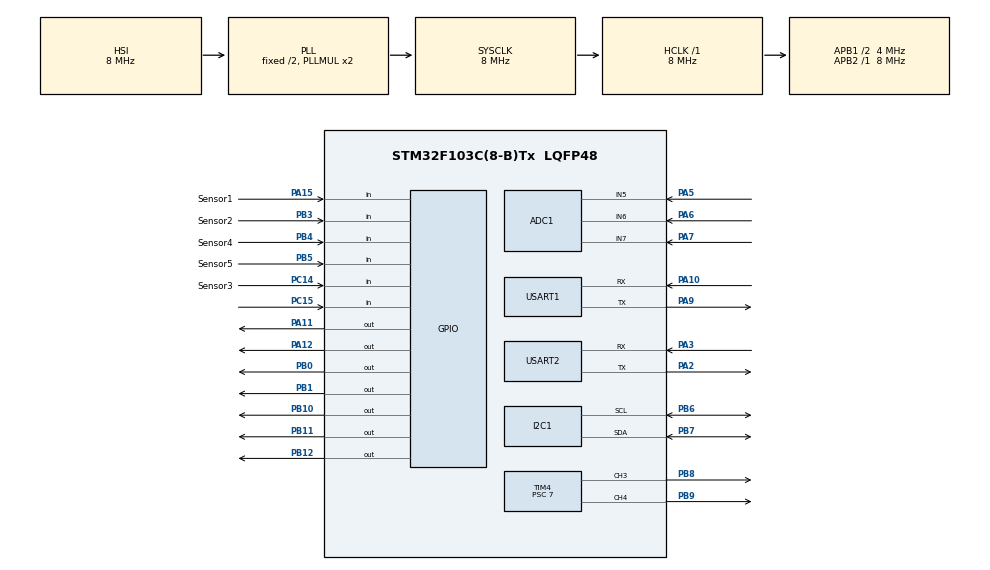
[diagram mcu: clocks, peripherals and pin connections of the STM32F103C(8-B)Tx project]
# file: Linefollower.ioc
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ADC1.Channel-2\#ChannelRegularConversion=ADC_CHANNEL_7
ADC1.NbrOfConversionFlag=1
ADC1.Rank-2\#ChannelRegularConversion=1
ADC1.SamplingTime-2\#ChannelRegularConversion=ADC_SAMPLETIME_1CYCLE_5
ADC1.master=1
Mcu.Family=STM32F1
Mcu.Name=STM32F103C(8-B)Tx
Mcu.Package=LQFP48
NVIC.PriorityGroup=NVIC_PRIORITYGROUP_4
NVIC.TIM4_IRQn=true\:0\:0\:false\:false\:true\:true\:true
NVIC.USART1_IRQn=true\:0\:0\:false\:false\:true\:true\:true
PA10.Mode=Asynchronous
PA10.Signal=USART1_RX
PA11.Signal=GPIO_Output
PA12.Signal=GPIO_Output
PA13.Mode=Serial_Wire
PA13.Signal=SYS_JTMS-SWDIO
PA14.Mode=Serial_Wire
PA14.Signal=SYS_JTCK-SWCLK
PA15.GPIO_Label=Sensor1
PA15.Signal=GPIO_Input
PA2.Mode=Asynchronous
PA2.Signal=USART2_TX
PA3.Mode=Asynchronous
PA3.Signal=USART2_RX
PA5.Signal=ADCx_IN5
PA6.Signal=ADCx_IN6
PA7.Signal=ADCx_IN7
PA9.Mode=Asynchronous
PA9.Signal=USART1_TX
PB0.Signal=GPIO_Output
PB1.Signal=GPIO_Output
PB10.Signal=GPIO_Output
PB11.Signal=GPIO_Output
PB12.Signal=GPIO_Output
PB3.GPIO_Label=Sensor2
PB3.Signal=GPIO_Input
PB4.GPIO_Label=Sensor4
PB4.Signal=GPIO_Input
PB5.GPIO_Label=Sensor5
PB5.Signal=GPIO_Input
PB6.Mode=I2C
PB6.Signal=I2C1_SCL
PB7.Mode=I2C
PB7.Signal=I2C1_SDA
PB8.Signal=S_TIM4_CH3
PB9.Signal=S_TIM4_CH4
PC14-OSC32_IN.GPIO_Label=Sensor3
PC14-OSC32_IN.Signal=GPIO_Input
PC15-OSC32_OUT.Signal=GPIO_Input
ProjectManager.HeapSize=0x200
ProjectManager.StackSize=0x400
ProjectManager.TargetToolchain=STM32CubeIDE
RCC.AHBFreq_Value=8000000
RCC.APB1CLKDivider=RCC_HCLK_DIV2
RCC.APB1Freq_Value=4000000
RCC.APB1TimFreq_Value=8000000
RCC.APB2Freq_Value=8000000
RCC.APB2TimFreq_Value=8000000
RCC.HCLKFreq_Value=8000000
RCC.SYSCLKFreq_VALUE=8000000
RCC.SYSCLKSource=RCC_SYSCLKSOURCE_PLLCLK
RCC.USBFreq_Value=8000000
SH.ADCx_IN5.0=ADC1_IN5,IN5
SH.ADCx_IN6.0=ADC1_IN6,IN6
SH.ADCx_IN7.0=ADC1_IN7,IN7
SH.S_TIM4_CH3.0=TIM4_CH3,PWM Generation3 CH3
SH.S_TIM4_CH4.0=TIM4_CH4,PWM Generation4 CH4
TIM4.Channel-PWM\ Generation3\ CH3=TIM_CHANNEL_3
TIM4.Channel-PWM\ Generation4\ CH4=TIM_CHANNEL_4
TIM4.Period=99
TIM4.Prescaler=7
USART1.VirtualMode=VM_ASYNC
USART2.VirtualMode=VM_ASYNC
VP_TIM4_VS_ClockSourceINT.Mode=Internal
board=custom

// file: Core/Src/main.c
/* USER CODE BEGIN Header */
/**
  ******************************************************************************
  * @file           : main.c
  * @brief          : Main program body
  ******************************************************************************
  * @attention
  *
  * <h2><center>&copy; Copyright (c) 2021 STMicroelectronics.
  * All rights reserved.</center></h2>
  *
  * This software component is licensed by ST under BSD 3-Clause license,
  * the "License"; You may not use this file except in compliance with the
  * License. You may obtain a copy of the License at:
  *                        opensource.org/licenses/BSD-3-Clause
  *
  ******************************************************************************
  */
/* USER CODE END Header */
#include "main.h"
#include "adc.h"
#include "i2c.h"
#include "tim.h"
#include "usart.h"
#include "gpio.h"

/* USER CODE BEGIN Includes */
#include "Control\PID.h"
#include "stdbool.h"
//#include "Control\Sensor.h"
extern int sensor[5];
extern int  error = 0;

int R_motor_speed = 0, L_motor_speed = 0;
int init_speed = 200;

/* USER CODE END Includes */

/* USER CODE BEGIN PTD */
PID_t PID_LEFT = {.Kp = 50, .Ki = 0.001, .Kd = 10,
		.dt = 30,  .I_saturation = 180, .error = 0, .last_err = 0};

PID_t PID_RIGHT = {.Kp = 50, .Ki = 0.001, .Kd = 10,
		.dt = 30,  .I_saturation = 180, .error = 0, .last_err = 0};

/* USER CODE END PTD */

/* USER CODE BEGIN PV */
//sensor
uint8_t read_sensor();
/* USER CODE END PV */

void SystemClock_Config(void);
void HAL_TIM_PeriodElapsedCallback(TIM_HandleTypeDef *htim);
/* USER CODE BEGIN PFP */

void go_straight_ahead(void){
	HAL_GPIO_WritePin(GPIOB, GPIO_PIN_11, 1);
	  HAL_GPIO_WritePin(GPIOB, GPIO_PIN_10, 0);
	  HAL_GPIO_WritePin(GPIOB, GPIO_PIN_1, 1);
	  HAL_GPIO_WritePin(GPIOB, GPIO_PIN_0, 0);
	__HAL_TIM_SET_COMPARE(&htim4, TIM_CHANNEL_3,L_motor_speed);
	__HAL_TIM_SET_COMPARE(&htim4, TIM_CHANNEL_4,R_motor_speed);

}

void go_back(void){
	HAL_GPIO_WritePin(GPIOB, GPIO_PIN_1, GPIO_PIN_RESET);
	HAL_GPIO_WritePin(GPIOB, GPIO_PIN_0, GPIO_PIN_SET);
	__HAL_TIM_SET_COMPARE(&htim4, TIM_CHANNEL_3,L_motor_speed);
	__HAL_TIM_SET_COMPARE(&htim4, TIM_CHANNEL_4,R_motor_speed);
}

void stop(void){
	HAL_GPIO_WritePin(GPIOB, GPIO_PIN_1, GPIO_PIN_RESET);
	HAL_GPIO_WritePin(GPIOB, GPIO_PIN_0, GPIO_PIN_RESET);
}
/* USER CODE END PFP */

int main(void)
{

  /* MCU Configuration--------------------------------------------------------*/

  /* Reset of all peripherals, Initializes the Flash interface and the Systick. */
  HAL_Init();

  /* Configure the system clock */
  SystemClock_Config();

  /* Initialize all configured peripherals */
  MX_GPIO_Init();
  MX_USART1_UART_Init();
  MX_ADC1_Init();
  MX_I2C1_Init();
  MX_USART2_UART_Init();
  MX_TIM4_Init();
  /* USER CODE BEGIN 2 */

  PID_init(&PID_LEFT, (float)30, (float)80, (float)100);
  PID_init(&PID_RIGHT, (float)30, (float)80, (float)100);
  PID_set_params(&PID_LEFT, (float)10, (float)0.01, (float)0);
  PID_set_params(&PID_RIGHT, (float)10, (float)0.01, (float)0);

  HAL_TIM_Base_Start_IT(&htim4);
  HAL_TIM_PWM_Start(&htim4, TIM_CHANNEL_3);
  HAL_TIM_PWM_Start(&htim4, TIM_CHANNEL_4);
  /* USER CODE END 2 */

  /* Infinite loop */
  while (1)
  {

    /* USER CODE BEGIN 3 */

//	  HAL_GPIO_WritePin(GPIOB, GPIO_PIN_0, GPIO_PIN_SET);
//	  HAL_GPIO_WritePin(GPIOB, GPIO_PIN_1, GPIO_PIN_SET);
//		__HAL_TIM_SET_COMPARE(&htim3, TIM_CHANNEL_1,600);
//			__HAL_TIM_SET_COMPARE(&htim3, TIM_CHANNEL_2,0);
//			__HAL_TIM_SET_COMPARE(&htim4, TIM_CHANNEL_1,500);
//			__HAL_TIM_SET_COMPARE(&htim4, TIM_CHANNEL_2,0);
  }
  /* USER CODE END 3 */
}

void SystemClock_Config(void)
{
  RCC_OscInitTypeDef RCC_OscInitStruct = {0};
  RCC_ClkInitTypeDef RCC_ClkInitStruct = {0};
  RCC_PeriphCLKInitTypeDef PeriphClkInit = {0};

  /** Initializes the RCC Oscillators according to the specified parameters
  * in the RCC_OscInitTypeDef structure.
  */
  RCC_OscInitStruct.OscillatorType = RCC_OSCILLATORTYPE_HSI;
  RCC_OscInitStruct.HSIState = RCC_HSI_ON;
  RCC_OscInitStruct.HSICalibrationValue = RCC_HSICALIBRATION_DEFAULT;
  RCC_OscInitStruct.PLL.PLLState = RCC_PLL_ON;
  RCC_OscInitStruct.PLL.PLLSource = RCC_PLLSOURCE_HSI_DIV2;
  RCC_OscInitStruct.PLL.PLLMUL = RCC_PLL_MUL2;
  if (HAL_RCC_OscConfig(&RCC_OscInitStruct) != HAL_OK)
  {
    Error_Handler();
  }
  /** Initializes the CPU, AHB and APB buses clocks
  */
  RCC_ClkInitStruct.ClockType = RCC_CLOCKTYPE_HCLK|RCC_CLOCKTYPE_SYSCLK
                              |RCC_CLOCKTYPE_PCLK1|RCC_CLOCKTYPE_PCLK2;
  RCC_ClkInitStruct.SYSCLKSource = RCC_SYSCLKSOURCE_PLLCLK;
  RCC_ClkInitStruct.AHBCLKDivider = RCC_SYSCLK_DIV1;
  RCC_ClkInitStruct.APB1CLKDivider = RCC_HCLK_DIV2;
  RCC_ClkInitStruct.APB2CLKDivider = RCC_HCLK_DIV1;

  if (HAL_RCC_ClockConfig(&RCC_ClkInitStruct, FLASH_LATENCY_0) != HAL_OK)
  {
    Error_Handler();
  }
  PeriphClkInit.PeriphClockSelection = RCC_PERIPHCLK_ADC;
  PeriphClkInit.AdcClockSelection = RCC_ADCPCLK2_DIV2;
  if (HAL_RCCEx_PeriphCLKConfig(&PeriphClkInit) != HAL_OK)
  {
    Error_Handler();
  }
}

/* USER CODE BEGIN 4 */
void HAL_TIM_PeriodElapsedCallback(TIM_HandleTypeDef *htim){
	if(htim->Instance == htim4.Instance){
		error = read_sensor();

		read_sensor();

		PID_update(&PID_LEFT, 0 , error);
		PID_update(&PID_RIGHT, 0 , error);
		R_motor_speed =  PID_ReadValue(&PID_LEFT);
		L_motor_speed =  PID_ReadValue(&PID_RIGHT);
//		go_straight_ahead();

	}
}

/* USER CODE END 4 */

void Error_Handler(void)
{
}

/************************ (C) COPYRIGHT STMicroelectronics *****END OF FILE****/
